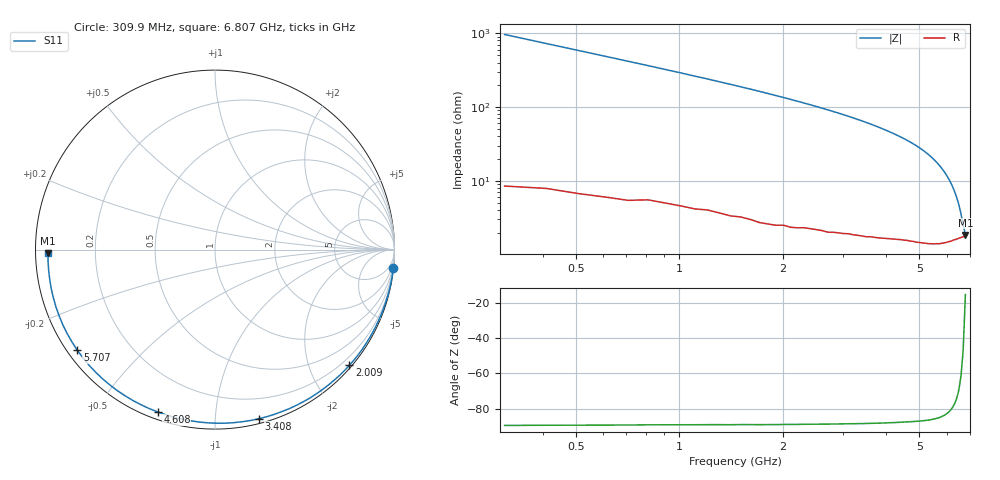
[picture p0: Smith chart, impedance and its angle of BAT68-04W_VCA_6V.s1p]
! Infineon Technologies  Discrete & RF Semiconductors
! BAT68-04W
! VCA = 6 V
! One-Port S-Parameters
# Hz  S  MA  R  50
!f  S11
!Hz  Mag  Ang
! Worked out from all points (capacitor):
!   66 points, 309.9 MHz to 6.807 GHz, reference 50 ohm
!   read as one part to ground: C = 536 fF near 309.9 MHz
!   lowest |Z| = 1.86 ohm at 6.807 GHz (marker M1)
!   S11 on the Smith chart (normalised r, x): 309.9 MHz: 0, -19; 2.009 GHz: 0.05, -2.69; 3.408 GHz: 0.04, -1.29; 4.608 GHz: 0.03, -0.71; 5.707 GHz: 0.03, -0.33; 6.807 GHz: 0.04, -0.01
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3.0985e8  0.9991 -6.0
7.0965e8  0.9969 -13.7
1.0095e9  0.9947 -19.6
1.2094e9  0.9933 -23.6
1.6092e9  0.991 -31.9
1.8091e9  0.9899 -36.2
2.009e9  0.9879 -40.7
2.2089e9  0.9863 -45.3
2.4088e9  0.984 -50.0
2.8086e9  0.9801 -59.9
3.10845e9  0.9765 -67.5
3.4083e9  0.9735 -75.4
3.6082e9  0.971 -80.8
3.8081e9  0.9688 -86.4
4.008e9  0.9662 -92.0
4.2079e9  0.9636 -97.8
4.4078e9  0.9612 -103.6
4.6077e9  0.9591 -109.5
4.90755e9  0.9572 -118.5
5.2074e9  0.9548 -127.8
5.50725e9  0.9525 -137.3
5.70715e9  0.9504 -143.8
5.90705e9  0.9474 -150.4
6.007e9  0.9457 -153.6
6.2069e9  0.942 -160.1
6.4068e9  0.9381 -166.4
6.6067e9  0.9341 -172.7
6.8066e9  0.9309 -178.9
